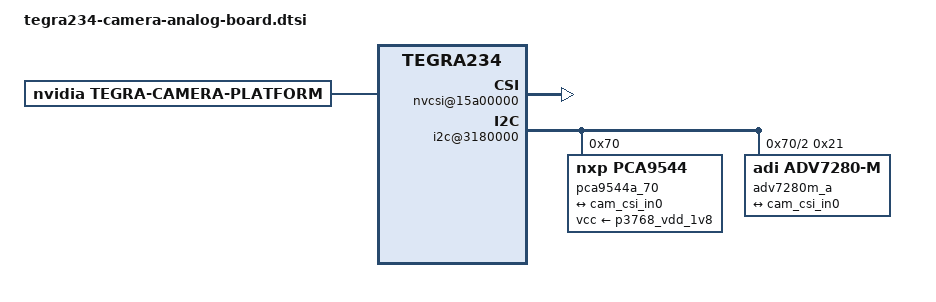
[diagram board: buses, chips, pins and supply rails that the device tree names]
/*
 * Copyright (c) 2022, NVIDIA CORPORATION.  All rights reserved.
 *
 * This program is free software; you can redistribute it and/or modify
 * it under the terms of the GNU General Public License as published by
 * the Free Software Foundation; either version 2 of the License, or
 * (at your option) any later version.
 *
 * This program is distributed in the hope that it will be useful, but WITHOUT
 * ANY WARRANTY; without even the implied warranty of MERCHANTABILITY or
 * FITNESS FOR A PARTICULAR PURPOSE.  See the GNU General Public License for
 * more details.
 *
 * You should have received a copy of the GNU General Public License
 * along with this program.  If not, see <http://www.gnu.org/licenses/>.
 */
#include <dt-bindings/media/camera.h>

#define CAM0_PWDN	TEGRA234_MAIN_GPIO(H, 6)
#define CAM1_PWDN	TEGRA234_MAIN_GPIO(AC, 0)
#define CAM2_PWDN	TEGRA234_AON_GPIO(CC, 1) // GPIO04
#define CAM3_PWDN	TEGRA234_AON_GPIO(EE, 2) // GPIO10
#define CAMERA_I2C_MUX_BUS(x) (0x1E + x)

// Test commands:
// 	$ v4l2-ctl --set-ctrl preferred_stride=1472
// 	$ gst-launch-1.0 v4l2src device=/dev/video0 ! video/x-raw,format=UYVY,width=720,height=480,framerate=25/1 ! xvimagesink

/ {
	tegra-capture-vi {
		status = "okay";
		num-channels = <1>;
		ports {
			#address-cells = <1>;
			#size-cells = <0>;
			port@0 {
				status = "okay";
				reg = <0>;
				cam_vi_in0: endpoint {
					status = "okay";
					port-index = <0>;
					bus-width = <1>;
					remote-endpoint = <&cam_csi_out0>;
				};
			};
		};
	};

	host1x@13e00000 {
		nvcsi@15a00000 {
			num-channels = <1>;
			#address-cells = <1>;
			#size-cells = <0>;
			status = "okay";
			channel@0 {
				status = "okay";
				reg = <0>;
				discontinuous_clk = "no";

				ports {
					#address-cells = <1>;
					#size-cells = <0>;
					port@0 {
						status = "okay";
						reg = <0>;
						cam_csi_in0: endpoint@0 {
							status = "okay";
							port-index = <0>;
							bus-width = <1>;
							remote-endpoint = <&adv7280_out>;
						};
					};
					port@1 {
						status = "okay";
						reg = <1>;
						cam_csi_out0: endpoint@1 {
							status = "okay";
							bus-width = <1>;
							remote-endpoint = <&cam_vi_in0>;
						};
					};
				};
			};
		};
	};

	i2c@3180000 {
		pca9544a_70: pca9544a@70 {
			status = "okay";
			compatible = "nxp,pca9544";
			reg = <0x70>;
			#address-cells = <1>;
			#size-cells = <0>;
			vcc-supply = <&p3768_vdd_1v8>;
			skip_mux_detect;
			force_bus_start = <CAMERA_I2C_MUX_BUS(0)>;

			i2c@0 {
				reg = <0>;
				i2c-mux,deselect-on-exit;
				#address-cells = <1>;
				#size-cells = <0>;
			};
			i2c1: i2c@1 { // CAM_I2C on GMSL Board v1.4
				reg = <1>;
				i2c-mux,deselect-on-exit;
				#address-cells = <1>;
				#size-cells = <0>;
			};
			i2c@2 { // I2C2 on GMSL Board v1.4
				reg = <2>;
				i2c-mux,deselect-on-exit;
				#address-cells = <1>;
				#size-cells = <0>;

				adv7280m_a: composite-in@21 {
					status = "okay";
					compatible = "adi,adv7280-m";
					reg = <0x21>;
					devnode = "video0";
					physical_w = "4.713";
					physical_h = "3.494";
					sensor_model = "adv7280-m";
					use_sensor_mode_id = "false";
					mclk = "extperiph1";
					refclk_hz = <28636363>;

					embedded_metadata_height = "0";

					ports {
						#address-cells = <1>;
						#size-cells = <0>;

						port@0 {
							reg = <0>;
							adv7280_out: endpoint {
								status = "okay";
								port-index = <0>;
								bus-width = <1>;
								remote-endpoint = <&cam_csi_in0>;
							};
						};
					};
				};

			};

			i2c@3 { // I2C5 on GMSL Board v1.4
				reg = <3>;
				i2c-mux,deselect-on-exit;
				#address-cells = <1>;
				#size-cells = <0>;
			};
		};
	};
};
/ {
	tegra-camera-platform {
		compatible = "nvidia, tegra-camera-platform";
		/**
		* Physical settings to calculate max ISO BW
		*
		* num_csi_lanes = <>;
		* Total number of CSI lanes when all cameras are active
		*
		* max_lane_speed = <>;
		* Max lane speed in Kbit/s
		*
		* min_bits_per_pixel = <>;
		* Min bits per pixel
		*
		* vi_peak_byte_per_pixel = <>;
		* Max byte per pixel for the VI ISO case
		*
		* vi_bw_margin_pct = <>;
		* Vi bandwidth margin in percentage
		*
		* max_pixel_rate = <>;
		* Max pixel rate in Kpixel/s for the ISP ISO case
		*
		* isp_peak_byte_per_pixel = <>;
		* Max byte per pixel for the ISP ISO case
		*
		* isp_bw_margin_pct = <>;
		* Isp bandwidth margin in percentage
		*/
		num_csi_lanes = <1>;
		max_lane_speed = <4000000>;
		min_bits_per_pixel = <10>;
		vi_peak_byte_per_pixel = <2>;
		vi_bw_margin_pct = <25>;
		isp_peak_byte_per_pixel = <5>;
		isp_bw_margin_pct = <25>;

		/**
		 * The general guideline for naming badge_info contains 3 parts, and is as follows,
		 * The first part is the camera_board_id for the module; if the module is in a FFD
		 * platform, then use the platform name for this part.
		 * The second part contains the position of the module, ex. "rear" or "front".
		 * The third part contains the last 6 characters of a part number which is found
		 * in the module's specsheet from the vendor.
		 */
		modules {
			module0 {
				status = "okay";
				badge = "analog_front";
				position = "front";
				orientation = "1";
				drivernode0 {
					status = "okay";
					pcl_id = "v4l2_sensor";
					devname = "adv7180 32-0021";
					proc-device-tree = "/proc/device-tree/i2c@3180000/pca9544a@70/i2c@2/composite-in@21";
				};
			};
		};
	};
};
